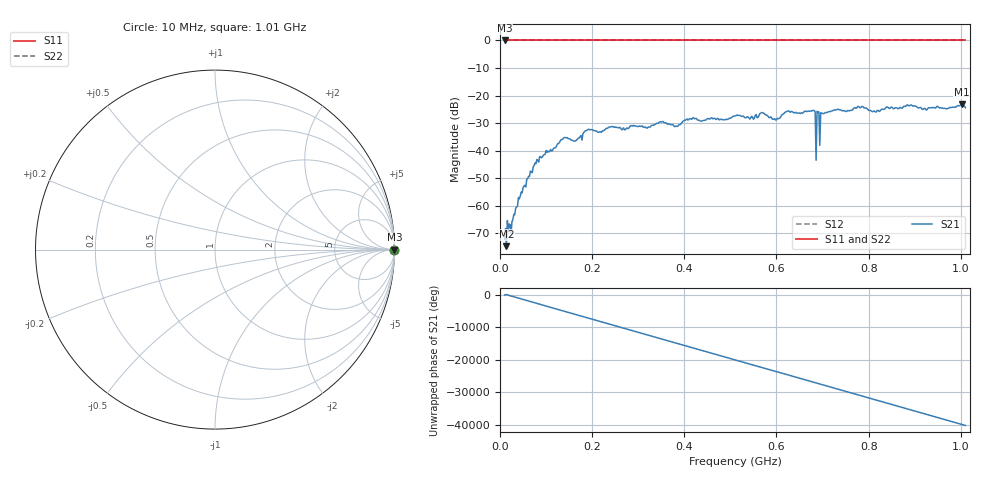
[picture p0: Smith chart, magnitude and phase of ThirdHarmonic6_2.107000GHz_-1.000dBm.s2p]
! 8/17/2025 1:12:18 AM
! C:\ANRITSUVNA\TEMP\TEMP.S2P
! CHANNEL.1
! TR.MEASUREMENT
! RAW.DATA
! RF.CORRECTION.OFF
! AVERAGING.OFF
! IF.BANDWIDTH: 5KHZ
! SWEEPTYPE:  FREQ.SWEEP(Linear)
! Reference Plane Port Info
! PORT:  PORT1  PORT2
! DISTANCE:  0  m  0  m
! TIME:  0  s  0  s
! PHASE.OFFSET:  0  deg.  0  deg.
! LOSS:  0  dB  0  dB
! REF.LOSS:  0  dB  0  dB
! REF.FREQ:  0  Hz  0  Hz
! Power Info
! POWER:  -20  dBm  -20  dBm
! EFF.POWER:  -20  dBm  -20  dBm
! SOURCE.ATTEN:  0  dB  0  dB
! TEST.ATTEN:  0  dB  0  dB
# GHZ S RI R 50.0
! FREQ.GHZ  S11RE  S11IM  S21RE  S21IM  S12RE  S12IM  S22RE  S22IM
!; PortSelection: Port_12
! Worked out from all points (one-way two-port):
!   501 points, 10 MHz to 1.01 GHz, reference 50 ohm
!   highest |S21| = -23.11 dB at 1.002 GHz (marker M1); lowest = -74.6 dB at 14 MHz (marker M2)
!   lowest |S11| = 0.0 dB at 10 MHz (marker M3)
!   |S11| at or under -10 dB: nowhere
!   |S22| runs from 0.0 to 0.0 dB; largest |S21 - S12| = 1.1
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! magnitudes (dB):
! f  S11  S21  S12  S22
! 10 MHz  0.0  -72.0  0.0  0.0
! 14 MHz  0.0  -74.6  0.0  0.0
! 48 MHz  0.0  -55.3  0.0  0.0
! 78 MHz  0.0  -44.7  0.0  0.0
! 136 MHz  0.0  -35.8  0.0  0.0
! 178 MHz  0.0  -36.1  0.0  0.0
! 192 MHz  0.0  -32.2  0.0  0.0
! 344 MHz  0.0  -30.0  0.0  0.0
! 382 MHz  0.0  -31.0  0.0  0.0
! 416 MHz  0.0  -28.6  0.0  0.0
! 510 MHz  0.0  -27.3  0.0  0.0
! 568 MHz  0.0  -26.1  0.0  0.0
! 596 MHz  0.0  -28.4  0.0  0.0
! 624 MHz  0.0  -25.6  0.0  0.0
! 678 MHz  0.0  -25.5  0.0  0.0
! 690 MHz  0.0  -25.9  0.0  0.0
! 692 MHz  0.0  -25.9  0.0  0.0
! 698 MHz  0.0  -26.3  0.0  0.0
! 700 MHz  0.0  -26.5  0.0  0.0
! 844 MHz  0.0  -24.6  0.0  0.0
! 1.002 GHz  0.0  -23.1  0.0  0.0
! 1.01 GHz  0.0  -24.4  0.0  0.0
